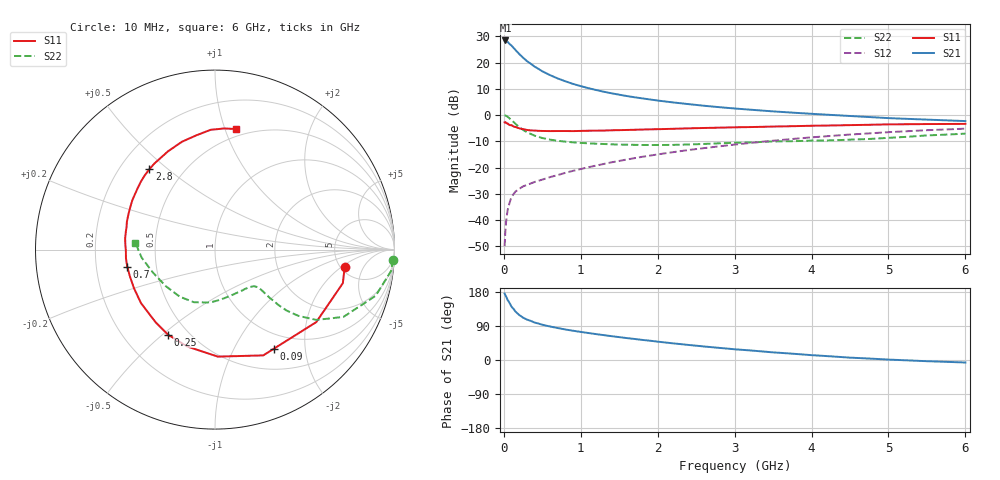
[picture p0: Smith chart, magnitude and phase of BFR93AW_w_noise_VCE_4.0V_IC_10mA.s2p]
! Infineon Technologies  Discrete & RF Semiconductors
! BFR93AW
! VCE =  4.0 V,  IC =  10 mA
! Common Emitter S-Parameters:  Jan 2017
# GHz  S  MA  R  50
!  f  S11  S21  S12  S22
! GHz  MAG  ANG  MAG  ANG  MAG  ANG  MAG  ANG
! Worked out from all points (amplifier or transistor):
!   77 points, 10 MHz to 6 GHz, reference 50 ohm
!   highest |S21| = 28.4 dB at 20 MHz (marker M1)
!   |S21| within 3 dB of that: start of sweep to 131.9 MHz
!   unconditionally stable (mu >= 1): 844.6 MHz to 2.138 GHz
!   at 130 MHz: K = 0.31, MSG = 27.7 dB, |S12| = -29.9 dB
!   at 2.2 GHz: K = 0.99, MSG = 9.5 dB, |S12| = -14.1 dB
!   at 6 GHz: K = 0.88, MSG = 1.4 dB, |S12| = -5.1 dB
!   lowest NFmin = 1.25 dB at 450 MHz
!   S11 on the Smith chart (normalised r, x): 10 MHz: 5.45, -2.21; 90 MHz: 0.78, -1.46; 250 MHz: 0.39, -0.52; 700 MHz: 0.34, -0.08; 2.8 GHz: 0.32, +0.43; 6 GHz: 0.44, +1.09
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0.01  0.7289 -7.5  26.34 175.4  0.0032 88.5  0.9931 -3.3
0.02  0.7364 -14.7  26.43 171.1  0.0063 83.6  0.9885 -6.9
0.05  0.6939 -35.6  24.79 158.2  0.0157 75.0  0.9318 -16.0
0.09  0.6423 -59.3  21.66 144.6  0.0251 65.3  0.8293 -25.1
0.1  0.6478 -65.5  21.11 140.7  0.0275 63.9  0.8075 -27.7
0.15  0.5964 -88.5  17.52 128.0  0.035 55.3  0.6862 -34.8
0.2  0.5616 -105.9  14.61 118.8  0.0394 52.6  0.5926 -38.5
0.25  0.5414 -119.0  12.43 111.8  0.0441 51.0  0.524 -40.4
0.3  0.5229 -129.2  10.71 106.7  0.0467 50.9  0.4721 -41.1
0.4  0.5089 -144.0  8.393 98.8  0.0534 52.0  0.4063 -41.4
0.5  0.5001 -154.5  6.839 93.1  0.0592 53.7  0.3667 -41.2
0.6  0.497 -162.6  5.785 88.4  0.0661 55.8  0.3418 -41.0
0.7  0.4982 -169.1  5 84.4  0.0722 58.2  0.3246 -41.1
0.9  0.4967 -179.4  3.933 77.2  0.087 60.3  0.3035 -42.6
1.1  0.5047 172.5  3.264 71.2  0.102 62.6  0.2911 -45.1
1.5  0.5181 159.7  2.448 60.4  0.1345 64.2  0.2751 -53.1
2.1  0.5446 144.1  1.82 46.2  0.188 63.2  0.2704 -70.4
2.8  0.5778 129.3  1.419 32.0  0.2545 59.3  0.2909 -92.2
3.1  0.5894 123.2  1.305 26.8  0.2851 56.7  0.2998 -100.9
4.1  0.631 105.4  1.04 11.6  0.3874 46.9  0.3282 -130.4
5.1  0.6691 90.7  0.866 0.3  0.4819 35.3  0.3764 -163.2
6  0.6819 80.0  0.771 -6.6  0.553 24.4  0.4447 175.2
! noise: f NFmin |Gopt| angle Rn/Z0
0.45  1.25  0.15  94  0.13
0.9  1.55  0.24  150  0.14
1.9  2.61  0.47  -148  0.18
2.4  3.24  0.54  -131  0.36
